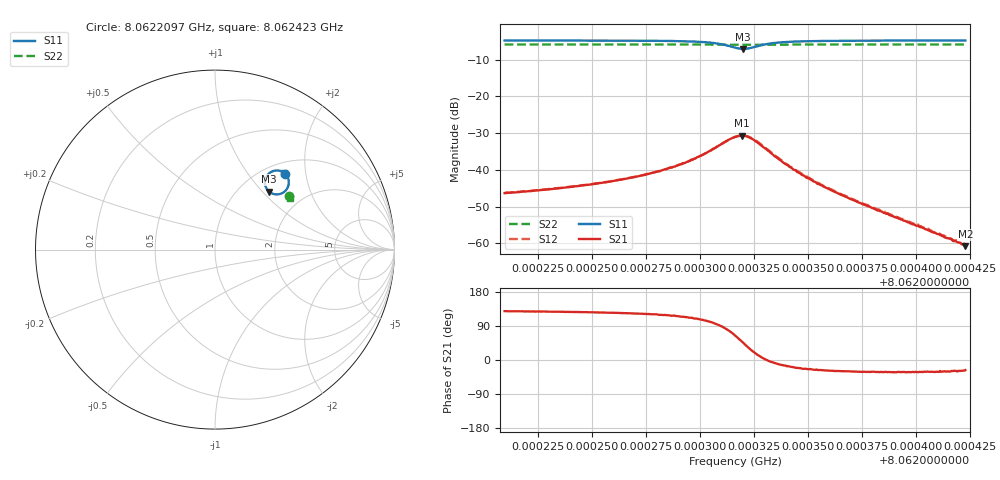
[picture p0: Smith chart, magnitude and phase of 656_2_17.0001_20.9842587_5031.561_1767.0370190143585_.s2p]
#  HZ  S  RI  R  50.00
! Rohde & Schwarz Vector Network Analyzer
! Rohde-Schwarz,ZNB20-2Port,1311601062101988,3.16
! Created: UTC 3/20/2024, 11:21:27 PM
! freq[Hz]  re:S11  im:S11  re:S21  im:S21  re:S12  im:S12  re:S22  im:S22
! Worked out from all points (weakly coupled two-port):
!   401 points, 8.0622097 GHz to 8.062423 GHz, reference 50 ohm
!   highest |S21| = -30.69 dB at 8.0623196 GHz (marker M1); lowest = -60.7 dB at 8.062423 GHz (marker M2)
!   lowest |S11| = -7.1 dB at 8.0623201 GHz (marker M3), VSWR 2.58, Z = 67.8 + j54.5 ohm
!   |S11| at or under -10 dB: nowhere
!   |S22| runs from -6.0 to -5.9 dB; largest |S21 - S12| = 0.0012
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8.06220974e9  0.3925 0.4211  -0.00304 0.00376  -0.00281 0.00398  0.4108 0.3001
8.06222733e9  0.3951 0.4183  -0.00329 0.00423  -0.003 0.00446  0.4113 0.299
8.06224546e9  0.398 0.4145  -0.00365 0.00495  -0.00334 0.00519  0.412 0.2979
8.06226466e9  0.4023 0.4079  -0.00414 0.00623  -0.00379 0.00649  0.4129 0.2967
8.06228118e9  0.4071 0.3975  -0.00469 0.00833  -0.00428 0.00865  0.4135 0.2953
8.06228972e9  0.4099 0.3881  -0.00497 0.0104  -0.00451 0.0106  0.4136 0.2946
8.06229771e9  0.4114 0.3735  -0.00474 0.0134  -0.00411 0.0136  0.4138 0.2935
8.06230891e9  0.3976 0.3337  -0.00078 0.0215  0.000331 0.0213  0.4131 0.2915
8.06231317e9  0.3737 0.3142  0.00493 0.025  0.00595 0.0247  0.4121 0.2908
8.06231637e9  0.3423 0.3074  0.0118 0.0255  0.0127 0.0251  0.4108 0.2907
8.06231957e9  0.3061 0.3194  0.0192 0.022  0.02 0.0215  0.4094 0.2914
8.06232011e9  0.3009 0.3236  0.0203 0.021  0.0211 0.0204  0.4092 0.2918
8.06232224e9  0.2848 0.3446  0.0233 0.0159  0.0241 0.0156  0.4088 0.2927
8.0623249e9  0.2778 0.374  0.024 0.00943  0.0247 0.00883  0.4091 0.2938
8.06233237e9  0.3019 0.4255  0.0176 -0.00112  0.018 -0.00182  0.4109 0.2954
8.0623409e9  0.3314 0.4396  0.0111 -0.00326  0.011 -0.00394  0.4127 0.2953
8.06234836e9  0.347 0.4409  0.00767 -0.00329  0.00762 -0.00361  0.4136 0.2947
8.0623521e9  0.3525 0.4404  0.00652 -0.00303  0.00647 -0.00359  0.414 0.2946
8.06236489e9  0.3648 0.4377  0.00407 -0.00229  0.00401 -0.00255  0.4148 0.2935
8.06238782e9  0.3759 0.4332  0.00207 -0.00127  0.00203 -0.00149  0.416 0.2922
8.06242194e9  0.3839 0.4284  0.000865 -0.000456  0.00083 -0.000503  0.4174 0.2902
8.06242301e9  0.3841 0.4284  0.000822 -0.000411  0.000815 -0.000503  0.4175 0.2902
